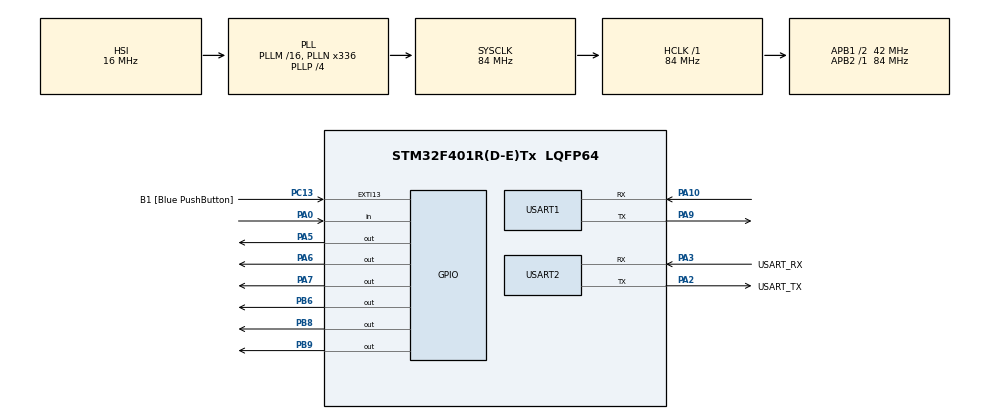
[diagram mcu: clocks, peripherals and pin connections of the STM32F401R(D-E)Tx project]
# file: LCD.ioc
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Mcu.Family=STM32F4
Mcu.Name=STM32F401R(D-E)Tx
Mcu.Package=LQFP64
NVIC.PriorityGroup=NVIC_PRIORITYGROUP_0
PA0-WKUP.Signal=GPIO_Input
PA10.Mode=Asynchronous
PA10.Signal=USART1_RX
PA13.GPIO_Label=TMS
PA13.Mode=Serial_Wire
PA13.Signal=SYS_JTMS-SWDIO
PA14.GPIO_Label=TCK
PA14.Mode=Serial_Wire
PA14.Signal=SYS_JTCK-SWCLK
PA2.GPIO_Label=USART_TX
PA2.GPIO_Mode=GPIO_MODE_AF_PP
PA2.GPIO_PuPd=GPIO_NOPULL
PA2.GPIO_Speed=GPIO_SPEED_FREQ_LOW
PA2.Mode=Asynchronous
PA2.Signal=USART2_TX
PA3.GPIO_Label=USART_RX
PA3.GPIO_Mode=GPIO_MODE_AF_PP
PA3.GPIO_PuPd=GPIO_NOPULL
PA3.GPIO_Speed=GPIO_SPEED_FREQ_LOW
PA3.Mode=Asynchronous
PA3.Signal=USART2_RX
PA5.Signal=GPIO_Output
PA6.Signal=GPIO_Output
PA7.Signal=GPIO_Output
PA9.Mode=Asynchronous
PA9.Signal=USART1_TX
PB3.GPIO_Label=SWO
PB3.Signal=SYS_JTDO-SWO
PB4.Signal=I2C3_SDA
PB6.Signal=GPIO_Output
PB8.Signal=GPIO_Output
PB9.Signal=GPIO_Output
PC13-ANTI_TAMP.GPIO_Label=B1 [Blue PushButton]
PC13-ANTI_TAMP.GPIO_ModeDefaultEXTI=GPIO_MODE_IT_FALLING
PC13-ANTI_TAMP.GPIO_PuPd=GPIO_NOPULL
PC13-ANTI_TAMP.Signal=GPXTI13
PC14-OSC32_IN.Mode=LSE-External-Oscillator
PC14-OSC32_IN.Signal=RCC_OSC32_IN
PC15-OSC32_OUT.Mode=LSE-External-Oscillator
PC15-OSC32_OUT.Signal=RCC_OSC32_OUT
PH0\ -\ OSC_IN.Mode=HSE-External-Clock-Source
PH0\ -\ OSC_IN.Signal=RCC_OSC_IN
PH1\ -\ OSC_OUT.Mode=HSE-External-Clock-Source
PH1\ -\ OSC_OUT.Signal=RCC_OSC_OUT
ProjectManager.HeapSize=0x200
ProjectManager.StackSize=0x400
ProjectManager.TargetToolchain=STM32CubeIDE
RCC.48MHZClocksFreq_Value=48000000
RCC.AHBFreq_Value=84000000
RCC.APB1CLKDivider=RCC_HCLK_DIV2
RCC.APB1Freq_Value=42000000
RCC.APB1TimFreq_Value=84000000
RCC.APB2Freq_Value=84000000
RCC.APB2TimFreq_Value=84000000
RCC.CortexFreq_Value=84000000
RCC.HCLKFreq_Value=84000000
RCC.HSE_VALUE=8000000
RCC.HSI_VALUE=16000000
RCC.PLLN=336
RCC.PLLP=RCC_PLLP_DIV4
RCC.PLLQ=7
RCC.SYSCLKFreq_VALUE=84000000
RCC.SYSCLKSource=RCC_SYSCLKSOURCE_PLLCLK
RCC.VCOOutputFreq_Value=336000000
USART1.VirtualMode=VM_ASYNC
USART2.VirtualMode=VM_ASYNC
board=NUCLEO-F401RE

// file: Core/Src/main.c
/* USER CODE BEGIN Header */
/**
  ******************************************************************************
  * @file           : main.c
  * @brief          : Main program body
  ******************************************************************************
  * @attention
  *
  * Copyright (c) 2024 STMicroelectronics.
  * All rights reserved.
  *
  * This software is licensed under terms that can be found in the LICENSE file
  * in the root directory of this software component.
  * If no LICENSE file comes with this software, it is provided AS-IS.
  *
  ******************************************************************************
  */
/* USER CODE END Header */
#include "main.h"

/* USER CODE BEGIN Includes */

#include "lcd.h"
#include <stdio.h>
#include <stdint.h>
#include <stdlib.h>
#include <string.h>
#include <stddef.h>
#include <assert.h>
#include <stdbool.h>

/* USER CODE END Includes */

UART_HandleTypeDef huart1;
UART_HandleTypeDef huart2;

void SystemClock_Config(void);
static void MX_GPIO_Init(void);
static void MX_USART2_UART_Init(void);
static void MX_USART1_UART_Init(void);

/* USER CODE BEGIN 0 */

uint8_t current[5];
uint8_t rx_buff[5];
uint8_t button_val = 0;

void decrypt(uint8_t *tx_buff, size_t size, uint8_t *destination){
  uint8_t key_1[] = {34, 20, 41, 97, 62};
  uint8_t key_2[] = {27, 25, 18, 48, 49};
  uint8_t key_3[] = {35, 28, 24, 43, 21};

  for (size_t i = 0; i < size; i++) {
	  destination[i] = ~(tx_buff[i]); // NOR operation
  }

  for (size_t i = 0; i < size; i++) {
	  destination[i] = destination[i] ^ key_3[i];
  }
  for (size_t i = 0; i < size; i++) {
	  destination[i] = destination[i] ^ key_2[i];
  }

  for (size_t i = 0; i < size; i++) {
	  destination[i] = destination[i] ^ key_1[i];
  }
}

char* convert_to_char_array(uint8_t *int_buffer, size_t buffer_size) {
    // Dynamically allocate memory for the char array (+1 for null terminator)
    char *char_array = (char *)malloc((buffer_size + 1) * sizeof(char));
    if (char_array == NULL) {
        // If memory allocation fails, return NULL
        printf("Memory allocation failed!\n");
        return NULL;
    }

    // Convert each integer to a character and store in the char array
    for (size_t i = 0; i < buffer_size; i++) {
        char_array[i] = (char)int_buffer[i];  // Convert integer to char
    }

    char_array[buffer_size] = '\0';  // Null-terminate the string

    return char_array;  // Return the dynamically allocated char array
}

// Function to compare two strings (returning 0 for equal, positive for str1 > str2, negative for str1 < str2)
int compare(const char *str1, const char *str2) {
    size_t lenString1 = strlen(str1);
    size_t lenString2 = strlen(str2);
    size_t minString = (lenString1 < lenString2) ? lenString1 : lenString2;

    for (size_t i = 0; i < minString; i++) {
        if (str1[i] > str2[i]) {
            return 1;
        } else if (str1[i] < str2[i]) {
            return -1;
        }
    }

    if (lenString1 > lenString2) {
        return 1;
    } else if (lenString1 == lenString2) {
        return 0;
    } else {
        return -1;
    }
}

// Function to assign a string (copy str2 to str1)
void assign(char *str1, const char *str2) {
    size_t i = 0;
    while (str2[i] != '\0') {
        str1[i] = str2[i];
        i++;
    }
    str1[i] = '\0'; // Null-terminate str1
}

// Function to insert a string into the array if it's not already present
void insert(char ***array, size_t *capacity, char *value) {
    // Check for duplicates
    for (size_t i = 0; i < *capacity; i++) {
        if (compare((*array)[i], value) == 0) {
            return;  // Duplicate found, do not insert
        }
    }

    // Reallocate memory for the new string
    *array = realloc(*array, (*capacity + 1) * sizeof(char *));
    if (*array == NULL) {
        // Memory allocation failed, handle error
        return;
    }

    // Allocate memory for the new string and assign it
    (*array)[*capacity] = malloc(strlen(value) + 1);
    if ((*array)[*capacity] == NULL) {
        // Memory allocation failed, handle error
        return;
    }

    assign((*array)[*capacity], value);  // Copy the string into the array
    (*capacity)++;  // Increase the array capacity
}

char **array = NULL;
size_t capacity = 0;

/* USER CODE END 0 */

int main(void)
{

  /* MCU Configuration--------------------------------------------------------*/

  /* Reset of all peripherals, Initializes the Flash interface and the Systick. */
  HAL_Init();

  /* Configure the system clock */
  SystemClock_Config();

  /* Initialize all configured peripherals */
  MX_GPIO_Init();
  MX_USART2_UART_Init();
  MX_USART1_UART_Init();
  /* USER CODE BEGIN 2 */

  // Lcd_PortType ports[] = { D4_GPIO_Port, D5_GPIO_Port, D6_GPIO_Port, D7_GPIO_Port };
    Lcd_PortType ports[] = { GPIOA, GPIOA, GPIOB, GPIOB };
    // Lcd_PinType pins[] = {D4_Pin, D5_Pin, D6_Pin, D7_Pin};
    Lcd_PinType pins[] = {GPIO_PIN_6, GPIO_PIN_5, GPIO_PIN_9, GPIO_PIN_8};
    Lcd_HandleTypeDef lcd;
    // Lcd_create(ports, pins, RS_GPIO_Port, RS_Pin, EN_GPIO_Port, EN_Pin, LCD_4_BIT_MODE);
    lcd = Lcd_create(ports, pins, GPIOB, GPIO_PIN_6, GPIOA, GPIO_PIN_7, LCD_4_BIT_MODE);
    /*Lcd_cursor(&lcd, 0,1);
    Lcd_string(&lcd, "Nizar Mohideen");
      for ( int x = 1; x <= 200 ; x++ )
      {
        Lcd_cursor(&lcd, 1,7);
        Lcd_int(&lcd, x);
        HAL_Delay (1000);
      }*/

  /* USER CODE END 2 */

  /* Infinite loop */
  while (1)
  {
    button_val = HAL_GPIO_ReadPin(GPIOA, GPIO_PIN_0);
    if (button_val == 1) {
	      Lcd_cursor(&lcd, 1, 1);
	    Lcd_string(&lcd, "Students...");
    	for (int i = 0; i < capacity; i++){
    		  	    	Lcd_cursor(&lcd, 0,1);
    		  	    	Lcd_string(&lcd, array[i]);
    		  	    	HAL_Delay (2000);
    		  	      }

    	Lcd_cursor(&lcd, 1,1);
    	Lcd_string(&lcd, "End of List");
    }
    /* USER CODE BEGIN 3 */

	  if(HAL_UART_Receive(&huart1, rx_buff, 5, 1000)==HAL_OK) //if transfer is successful
	  	    {
	  	      __NOP(); //You need to toggle a breakpoint on this line!

	  	      Lcd_cursor(&lcd, 1, 1);
	  	    Lcd_string(&lcd, "Students...");

	  	      decrypt(rx_buff, 5, current);
	  	      char *char_array1 = convert_to_char_array(current, sizeof(current));
	  	      insert(&array, &capacity, char_array1);  // Insert "Hello"
	  	      free(char_array1);
	  	      for (int i = 0; i < capacity; i++){
	  	    	Lcd_cursor(&lcd, 0,1);
	  	    	Lcd_string(&lcd, array[i]);
	  	    	HAL_Delay (2000);
	  	      }

	  	   	Lcd_cursor(&lcd, 1,1);
	  	    	Lcd_string(&lcd, "End of List");

	  	    } else {
	  	      __NOP();
	  	    }
  }
  /* USER CODE END 3 */
}

void SystemClock_Config(void)
{
  RCC_OscInitTypeDef RCC_OscInitStruct = {0};
  RCC_ClkInitTypeDef RCC_ClkInitStruct = {0};

  /** Configure the main internal regulator output voltage
  */
  __HAL_RCC_PWR_CLK_ENABLE();
  __HAL_PWR_VOLTAGESCALING_CONFIG(PWR_REGULATOR_VOLTAGE_SCALE2);

  /** Initializes the RCC Oscillators according to the specified parameters
  * in the RCC_OscInitTypeDef structure.
  */
  RCC_OscInitStruct.OscillatorType = RCC_OSCILLATORTYPE_HSI;
  RCC_OscInitStruct.HSIState = RCC_HSI_ON;
  RCC_OscInitStruct.HSICalibrationValue = RCC_HSICALIBRATION_DEFAULT;
  RCC_OscInitStruct.PLL.PLLState = RCC_PLL_ON;
  RCC_OscInitStruct.PLL.PLLSource = RCC_PLLSOURCE_HSI;
  RCC_OscInitStruct.PLL.PLLM = 16;
  RCC_OscInitStruct.PLL.PLLN = 336;
  RCC_OscInitStruct.PLL.PLLP = RCC_PLLP_DIV4;
  RCC_OscInitStruct.PLL.PLLQ = 7;
  if (HAL_RCC_OscConfig(&RCC_OscInitStruct) != HAL_OK)
  {
    Error_Handler();
  }

  /** Initializes the CPU, AHB and APB buses clocks
  */
  RCC_ClkInitStruct.ClockType = RCC_CLOCKTYPE_HCLK|RCC_CLOCKTYPE_SYSCLK
                              |RCC_CLOCKTYPE_PCLK1|RCC_CLOCKTYPE_PCLK2;
  RCC_ClkInitStruct.SYSCLKSource = RCC_SYSCLKSOURCE_PLLCLK;
  RCC_ClkInitStruct.AHBCLKDivider = RCC_SYSCLK_DIV1;
  RCC_ClkInitStruct.APB1CLKDivider = RCC_HCLK_DIV2;
  RCC_ClkInitStruct.APB2CLKDivider = RCC_HCLK_DIV1;

  if (HAL_RCC_ClockConfig(&RCC_ClkInitStruct, FLASH_LATENCY_2) != HAL_OK)
  {
    Error_Handler();
  }
}

static void MX_USART1_UART_Init(void)
{

  huart1.Instance = USART1;
  huart1.Init.BaudRate = 115200;
  huart1.Init.WordLength = UART_WORDLENGTH_8B;
  huart1.Init.StopBits = UART_STOPBITS_1;
  huart1.Init.Parity = UART_PARITY_NONE;
  huart1.Init.Mode = UART_MODE_TX_RX;
  huart1.Init.HwFlowCtl = UART_HWCONTROL_NONE;
  huart1.Init.OverSampling = UART_OVERSAMPLING_16;
  if (HAL_UART_Init(&huart1) != HAL_OK)
  {
    Error_Handler();
  }

}

static void MX_USART2_UART_Init(void)
{

  huart2.Instance = USART2;
  huart2.Init.BaudRate = 115200;
  huart2.Init.WordLength = UART_WORDLENGTH_8B;
  huart2.Init.StopBits = UART_STOPBITS_1;
  huart2.Init.Parity = UART_PARITY_NONE;
  huart2.Init.Mode = UART_MODE_TX_RX;
  huart2.Init.HwFlowCtl = UART_HWCONTROL_NONE;
  huart2.Init.OverSampling = UART_OVERSAMPLING_16;
  if (HAL_UART_Init(&huart2) != HAL_OK)
  {
    Error_Handler();
  }

}

static void MX_GPIO_Init(void)
{
  GPIO_InitTypeDef GPIO_InitStruct = {0};

  /* GPIO Ports Clock Enable */
  __HAL_RCC_GPIOC_CLK_ENABLE();
  __HAL_RCC_GPIOH_CLK_ENABLE();
  __HAL_RCC_GPIOA_CLK_ENABLE();
  __HAL_RCC_GPIOB_CLK_ENABLE();

  /*Configure GPIO pin Output Level */
  HAL_GPIO_WritePin(GPIOA, GPIO_PIN_5|GPIO_PIN_6|GPIO_PIN_7, GPIO_PIN_RESET);

  /*Configure GPIO pin Output Level */
  HAL_GPIO_WritePin(GPIOB, GPIO_PIN_6|GPIO_PIN_8|GPIO_PIN_9, GPIO_PIN_RESET);

  /*Configure GPIO pin : B1_Pin */
  GPIO_InitStruct.Pin = B1_Pin;
  GPIO_InitStruct.Mode = GPIO_MODE_IT_FALLING;
  GPIO_InitStruct.Pull = GPIO_NOPULL;
  HAL_GPIO_Init(B1_GPIO_Port, &GPIO_InitStruct);

  /*Configure GPIO pin : PA0 */
  GPIO_InitStruct.Pin = GPIO_PIN_0;
  GPIO_InitStruct.Mode = GPIO_MODE_INPUT;
  GPIO_InitStruct.Pull = GPIO_NOPULL;
  HAL_GPIO_Init(GPIOA, &GPIO_InitStruct);

  /*Configure GPIO pins : PA5 PA6 PA7 */
  GPIO_InitStruct.Pin = GPIO_PIN_5|GPIO_PIN_6|GPIO_PIN_7;
  GPIO_InitStruct.Mode = GPIO_MODE_OUTPUT_PP;
  GPIO_InitStruct.Pull = GPIO_NOPULL;
  GPIO_InitStruct.Speed = GPIO_SPEED_FREQ_LOW;
  HAL_GPIO_Init(GPIOA, &GPIO_InitStruct);

  /*Configure GPIO pin : PB4 */
  GPIO_InitStruct.Pin = GPIO_PIN_4;
  GPIO_InitStruct.Mode = GPIO_MODE_AF_OD;
  GPIO_InitStruct.Pull = GPIO_NOPULL;
  GPIO_InitStruct.Speed = GPIO_SPEED_FREQ_VERY_HIGH;
  GPIO_InitStruct.Alternate = GPIO_AF9_I2C3;
  HAL_GPIO_Init(GPIOB, &GPIO_InitStruct);

  /*Configure GPIO pins : PB6 PB8 PB9 */
  GPIO_InitStruct.Pin = GPIO_PIN_6|GPIO_PIN_8|GPIO_PIN_9;
  GPIO_InitStruct.Mode = GPIO_MODE_OUTPUT_PP;
  GPIO_InitStruct.Pull = GPIO_NOPULL;
  GPIO_InitStruct.Speed = GPIO_SPEED_FREQ_LOW;
  HAL_GPIO_Init(GPIOB, &GPIO_InitStruct);

}

void Error_Handler(void)
{
  __disable_irq();
  while (1)
  {
  }
}
